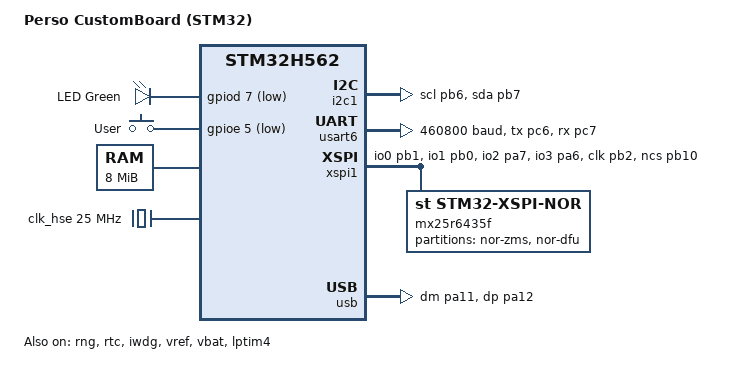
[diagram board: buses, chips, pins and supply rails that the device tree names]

#include <mem.h> // Required due to missing include in <st/h5/stm32h562.dtsi>
#include <st/h5/stm32h562.dtsi>
#include <st/h5/stm32h562vgtx-pinctrl.dtsi>
#include <zephyr/dt-bindings/input/input-event-codes.h>
#include <zephyr/dt-bindings/memory-attr/memory-attr.h>
#include <zephyr/dt-bindings/memory-attr/memory-attr-arm.h>

/ {
  model = "Perso CustomBoard (STM32)";
  compatible = "perso,customboard-stm32";

  #address-cells = <1>;
  #size-cells = <1>;

  chosen {
    zephyr,console = &usart6;
    zephyr,shell-uart = &usart6;
    zephyr,sram = &sram1;
    zephyr,flash = &flash0;
    zephyr,code-partition = &slot0_partition;
    zephyr,settings-partition = &storage_partition;
  };

  aliases {
    sw0 = &user_button;
    watchdog0 = &iwdg;
    led0 = &led_g;
  };

  leds: leds {
    compatible = "gpio-leds";
    led_g: led_1 {
      gpios = <&gpiod 7 GPIO_ACTIVE_LOW>;
      label = "LED Green";
    };
  };

  gpio_keys {
    compatible = "gpio-keys";
    user_button: button {
      label = "User";
      gpios = <&gpioe 5 (GPIO_ACTIVE_LOW | GPIO_PULL_UP)>;
      zephyr,code = <INPUT_KEY_0>;
    };
  };

  ext_memory: memory@90000000 {
    compatible = "zephyr,memory-region";
    reg = <0x90000000 DT_SIZE_M(8)>;
    zephyr,memory-region = "EXTMEM";
    /* The ATTR_MPU_EXTMEM attribut causing a MPU FAULT */
    zephyr,memory-attr = <( DT_MEM_ARM(ATTR_MPU_IO) )>;
  };

  soc {
    sram1: memory@20000000 {
      compatible = "zephyr,memory-region", "mmio-sram";
      reg = <0x20000000 DT_SIZE_K(256)>;
      zephyr,memory-region = "SRAM1";
    };

    sram2: memory@20040000 {
      compatible = "zephyr,memory-region", "mmio-sram";
      reg = <0x20040000 DT_SIZE_K(64)>;
      zephyr,memory-region = "SRAM2";
    };

    sram3: memory@20050000 {
      compatible = "zephyr,memory-region", "mmio-sram";
      reg = <0x20050000 DT_SIZE_K(320)>;
      zephyr,memory-region = "SRAM3";
    };

    backup_sram: memory@40036400 {
      reg = <0x40036400 DT_SIZE_K(4)>;
    };
  };
};

&clk_hse {
  clock-frequency = <DT_FREQ_M(25)>; /* 8MHz clock */
  hse-bypass;
  status = "okay";
};

&clk_hsi48 {
  status = "okay";
};

&clk_lse {
  status = "disabled";
};

&pll {
  div-m = <5>;
  mul-n = <96>;
  div-p = <2>;
  div-q = <2>;
  div-r = <2>;
  clocks = <&clk_hse>;
  status = "okay";
};

&rng {
  status = "okay";
};

&i2c1 {
  pinctrl-0 = <&i2c1_scl_pb6 &i2c1_sda_pb7>;
  pinctrl-names = "default";
  status = "okay";
};

&rcc {
  clocks = <&pll>;
  clock-frequency = <DT_FREQ_M(240)>;
  ahb-prescaler = <1>;
  apb1-prescaler = <2>;
  apb2-prescaler = <1>;
  apb3-prescaler = <2>;
};

&usart6 {
  // LABEL: DEBUG / Logs
  pinctrl-0 = <&usart6_tx_pc6 &usart6_rx_pc7>;
  pinctrl-names = "default";
  current-speed = <460800>;
  status = "okay";
};

&xspi1 {
  pinctrl-0 = <&octospi1_io0_pb1 &octospi1_io1_pb0
         &octospi1_io2_pa7 &octospi1_io3_pa6
         &octospi1_clk_pb2 &octospi1_ncs_pb10>;
  pinctrl-names = "default";
  status = "okay";

  mx25r6435f: xspi-nor-flash@90000000 {
    compatible = "st,stm32-xspi-nor";
    reg = <0x90000000 DT_SIZE_M(8)>; /* 64 Mbits */
    ospi-max-frequency = <DT_FREQ_M(1)>;
    spi-bus-width = <XSPI_SPI_MODE>;
    data-rate = <XSPI_STR_TRANSFER>;
    status = "okay";

    partitions {
      compatible = "fixed-partitions";
      #address-cells = <1>;
      #size-cells = <1>;

      ext_storage_partition: partition@0 {
        label = "nor-zms";
        reg = <0x00000000 DT_SIZE_K(128)>;
      };
      // There is some place left here
      ext_dfu_partition: partition@400000 {
        label = "nor-dfu";
        reg = <0x00400000 DT_SIZE_M(4)>;
      };
    };
  };
};

&rtc {
  clocks = <&rcc STM32_CLOCK_BUS_APB3 0x00200000>,
     <&rcc STM32_SRC_LSE RTC_SEL(1)>;
  status = "okay";
};

&iwdg {
  status = "okay";
};

&gpdma1 {
  status = "okay";
};

&gpdma2 {
  status = "okay";
};

&flash0 {
  reg = <0x08000000 DT_SIZE_M(1)>;

  partitions {
    compatible = "fixed-partitions";
    #address-cells = <1>;
    #size-cells = <1>;

    // Bank 1
    boot_partition: partition@0 {
      label = "mcuboot";
      reg = <0x00000000 DT_SIZE_K(64)>;
    };
    slot0_partition: partition@10000 {
      label = "image-0";
      reg = <0x00010000 DT_SIZE_K(448)>;
    };
    // Bank 2
    // !! Beware there is a 512kB empty space between end of Bank 1 and start
    //  of Bank 2. Banks are design with a 2MB FLASH area in mind.
    slot1_partition: partition@80000 {
      label = "image-1";
      reg = <0x00100000 DT_SIZE_K(448)>;
    };
    storage_partition: partition@f0000 {
      label = "storage";
      reg = <0x00170000 DT_SIZE_K(64)>;
    };
  };
};

zephyr_udc0: &usb {
  pinctrl-0 = <&usb_dm_pa11 &usb_dp_pa12>;
  pinctrl-names = "default";
  status = "okay";
};

&vref {
  status = "okay";
};

&vbat {
  status = "okay";
};

&clk_lsi {
  status = "okay";
};

stm32_lp_tick_source: &lptim4 {
  clocks = <&rcc STM32_CLOCK_BUS_APB3 0x2000>,
     <&rcc STM32_SRC_LSI LPTIM4_SEL(4)>;
  status = "okay";
};
